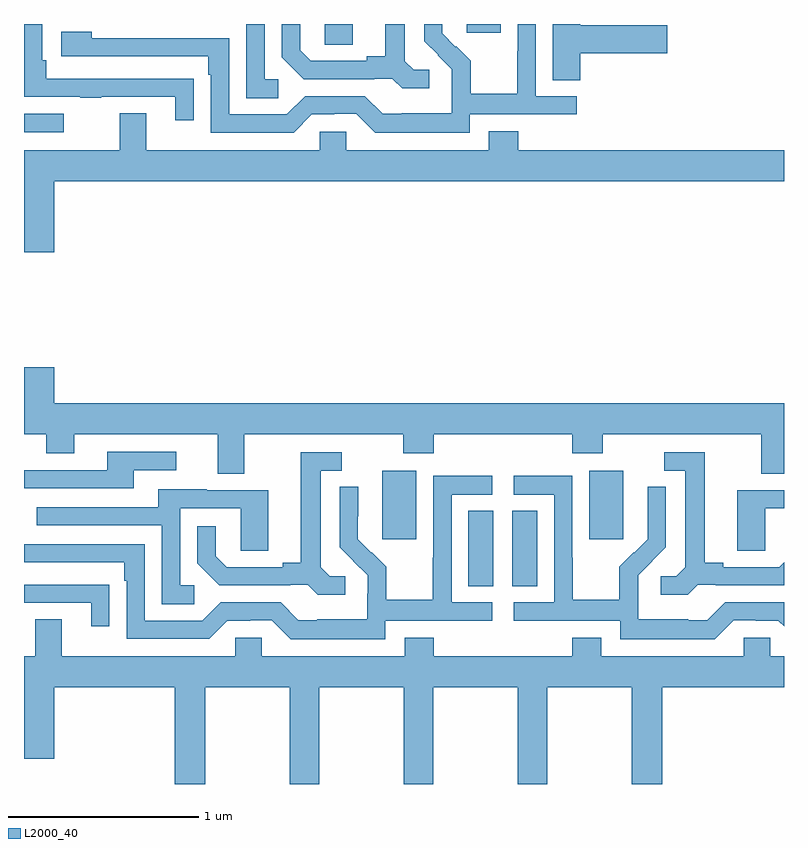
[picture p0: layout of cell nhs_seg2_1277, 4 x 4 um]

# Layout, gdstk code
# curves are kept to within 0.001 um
import gdstk
lib = gdstk.Library(unit=1e-6, precision=1e-09)
def R(c, l, rs):  # rectangles x0, y0, x1, y1
    for r in rs: c.add(gdstk.rectangle(r[:2], r[2:], *l))
def P(c, l, *ps):  # polygons
    for p in ps: c.add(gdstk.Polygon(p, *l))
L2000_40 = (2000, 40)

nhs_seg2_1277 = lib.new_cell('nhs_seg2_1277')
R(nhs_seg2_1277, L2000_40, [(179.339,642.841,179.47,643.238), (179.57,642.841,179.701,643.238), (178.886,643.089,179.065,643.45), (179.975,643.089,180.154,643.45), (177,645.231,177.208,645.327), (178.584,645.691,178.729,645.8), (179.33,645.753,179.509,645.8)])
P(nhs_seg2_1277, L2000_40, [(179.927,645.647),(180.385,645.647),(180.385,645.794),(179.927,645.794),(179.927,645.8),(179.783,645.8),(179.783,645.505),(179.927,645.505)],
  [(179.346,645.324),(179.908,645.324),(179.908,645.42),(179.694,645.42),(179.694,645.8),(179.598,645.8),(179.598,645.656),(179.596,645.656),(179.596,645.433),(179.351,645.433),(179.351,645.607),(179.274,645.684),(179.271,645.681),(179.201,645.752),(179.201,645.8),(179.106,645.8),(179.106,645.71),(179.252,645.562),(179.252,645.465),(179.25,645.465),(179.25,645.331),(178.987,645.331),(178.987,645.327),(178.887,645.327),(178.794,645.42),(178.479,645.42),(178.383,645.324),(178.08,645.324),(178.08,645.726),(177.356,645.726),(177.356,645.76),(177.195,645.76),(177.195,645.63),(177.971,645.63),(177.971,645.533),(177.984,645.533),(177.984,645.228),(178.419,645.228),(178.515,645.324),(178.634,645.324),(178.634,645.327),(178.749,645.327),(178.849,645.227),(179.346,645.227)],
  [(178.339,645.51),(178.266,645.51),(178.266,645.8),(178.17,645.8),(178.17,645.409),(178.339,645.409)],
  [(177.893,645.512),(177.791,645.512),(177.791,645.513),(177.116,645.513),(177.116,645.61),(177.096,645.61),(177.096,645.8),(177,645.8),(177,645.417),(177.295,645.417),(177.295,645.412),(177.407,645.412),(177.407,645.417),(177.797,645.417),(177.797,645.294),(177.893,645.294)],
  [(179.134,645.558),(179.052,645.558),(179.005,645.605),(179.005,645.8),(178.901,645.8),(178.901,645.629),(178.805,645.629),(178.805,645.606),(178.51,645.606),(178.453,645.663),(178.453,645.8),(178.356,645.8),(178.356,645.626),(178.472,645.51),(178.844,645.51),(178.844,645.513),(178.938,645.513),(178.99,645.461),(179.134,645.461)],
  [(177.16,644.972),(181,644.972),(181,645.136),(179.6,645.136),(179.6,645.235),(179.447,645.235),(179.447,645.136),(178.695,645.136),(178.695,645.234),(178.557,645.234),(178.557,645.136),(177.643,645.136),(177.643,645.331),(177.503,645.331),(177.503,645.136),(177,645.136),(177,644.598),(177.16,644.598)],
  [(178.159,643.64),(178.996,643.64),(178.996,643.541),(179.156,643.541),(179.156,643.64),(179.885,643.64),(179.885,643.541),(180.045,643.541),(180.045,643.64),(180.881,643.64),(180.881,643.432),(181,643.432),(181,643.804),(177.16,643.804),(177.16,643.993),(177,643.993),(177,643.64),(177.118,643.64),(177.118,643.541),(177.265,643.541),(177.265,643.64),(178.019,643.64),(178.019,643.432),(178.159,643.432)],
  [(177.577,643.452),(177.802,643.452),(177.802,643.548),(177.437,643.548),(177.437,643.452),(177,643.452),(177,643.356),(177.577,643.356)],
  [(178.69,642.894),(178.608,642.894),(178.561,642.941),(178.561,643.449),(178.672,643.449),(178.672,643.545),(178.457,643.545),(178.457,642.965),(178.361,642.965),(178.361,642.942),(178.066,642.942),(178.009,642.999),(178.009,643.156),(177.912,643.156),(177.912,642.962),(178.028,642.846),(178.4,642.846),(178.4,642.849),(178.494,642.849),(178.546,642.797),(178.69,642.797)],
  [(180.546,642.849),(180.64,642.849),(180.64,642.846),(181,642.846),(181,642.968),(180.974,642.942),(180.679,642.942),(180.679,642.965),(180.583,642.965),(180.583,643.545),(180.369,643.545),(180.369,643.449),(180.479,643.449),(180.479,642.941),(180.432,642.894),(180.351,642.894),(180.351,642.797),(180.494,642.797)],
  [(180.735,642.663),(180.851,642.663),(180.851,642.66),(180.969,642.66),(181,642.629),(181,642.756),(180.69,642.756),(180.597,642.663),(180.497,642.663),(180.497,642.667),(180.234,642.667),(180.234,642.801),(180.232,642.801),(180.232,642.898),(180.378,643.046),(180.378,643.364),(180.282,643.364),(180.282,643.21),(180.284,643.21),(180.284,643.088),(180.213,643.017),(180.21,643.02),(180.133,642.943),(180.133,642.769),(179.889,642.769),(179.889,642.992),(179.886,642.992),(179.886,643.422),(179.577,643.422),(179.577,643.323),(179.79,643.323),(179.79,642.756),(179.577,642.756),(179.577,642.66),(180.138,642.66),(180.138,642.563),(180.635,642.563)],
  [(178.902,642.66),(179.464,642.66),(179.464,642.756),(179.25,642.756),(179.25,643.323),(179.464,643.323),(179.464,643.422),(179.154,643.422),(179.154,642.992),(179.152,642.992),(179.152,642.769),(178.907,642.769),(178.907,642.943),(178.83,643.02),(178.827,643.017),(178.757,643.088),(178.758,643.364),(178.662,643.364),(178.662,643.046),(178.808,642.898),(178.808,642.801),(178.806,642.801),(178.806,642.667),(178.543,642.667),(178.543,642.663),(178.443,642.663),(178.35,642.756),(178.035,642.756),(177.939,642.66),(177.636,642.66),(177.636,643.062),(177,643.062),(177,642.966),(177.527,642.966),(177.527,642.869),(177.54,642.869),(177.54,642.564),(177.975,642.564),(178.071,642.66),(178.19,642.66),(178.19,642.663),(178.305,642.663),(178.405,642.563),(178.902,642.563)],
  [(177.895,642.846),(177.822,642.846),(177.822,643.251),(178.14,643.251),(178.14,643.027),(178.285,643.027),(178.285,643.347),(177.961,643.347),(177.961,643.351),(177.707,643.351),(177.707,643.257),(177.067,643.257),(177.067,643.161),(177.726,643.161),(177.726,642.745),(177.895,642.745)],
  [(180.9,643.251),(181,643.251),(181,643.347),(180.755,643.347),(180.755,643.027),(180.9,643.027)],
  [(177.449,642.848),(177.347,642.848),(177.347,642.849),(177,642.849),(177,642.753),(177.353,642.753),(177.353,642.63),(177.449,642.63)],
  [(177.954,642.308),(178.399,642.308),(178.399,641.8),(178.554,641.8),(178.554,642.308),(178.999,642.308),(178.999,641.8),(179.154,641.8),(179.154,642.308),(179.599,642.308),(179.599,641.8),(179.754,641.8),(179.754,642.308),(180.199,642.308),(180.199,641.8),(180.359,641.8),(180.359,642.308),(181,642.308),(181,642.472),(180.927,642.472),(180.927,642.57),(180.789,642.57),(180.789,642.472),(180.037,642.472),(180.037,642.571),(179.885,642.571),(179.885,642.472),(179.156,642.472),(179.156,642.571),(179.003,642.571),(179.003,642.472),(178.251,642.472),(178.251,642.57),(178.113,642.57),(178.113,642.472),(177.199,642.472),(177.199,642.667),(177.059,642.667),(177.059,642.472),(177,642.472),(177,641.934),(177.16,641.934),(177.16,642.308),(177.794,642.308),(177.794,641.8),(177.954,641.8)])

lib.write_gds('nhs_seg2_1277.gds')
